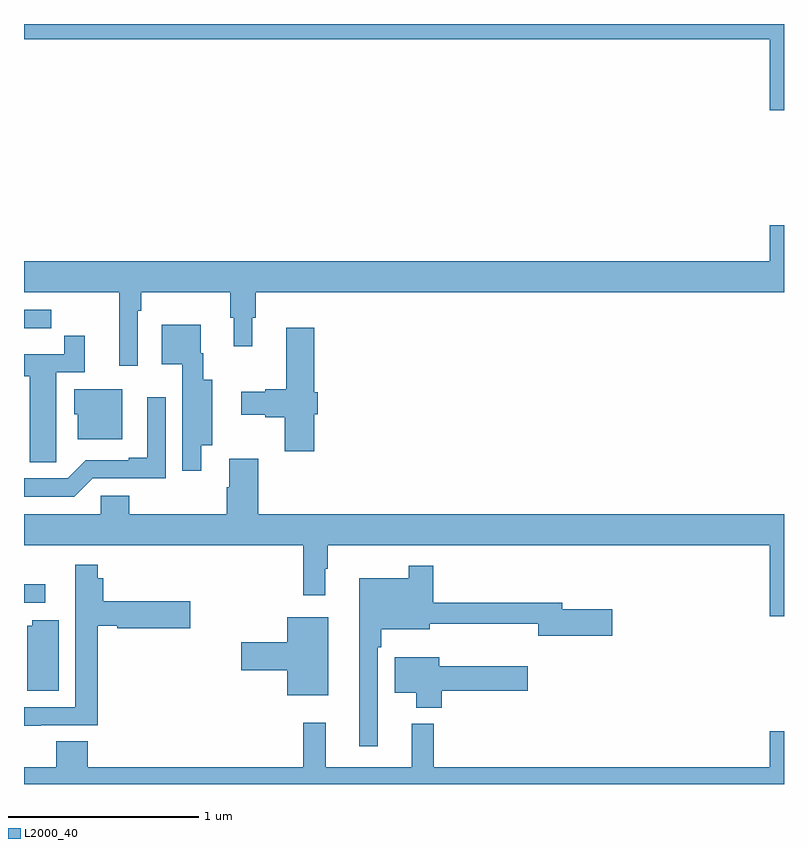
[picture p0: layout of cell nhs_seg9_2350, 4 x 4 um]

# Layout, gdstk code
import gdstk
lib = gdstk.Library(unit=1e-6, precision=1e-09)
def R(c, l, rs):  # rectangles x0, y0, x1, y1
    for r in rs: c.add(gdstk.rectangle(r[:2], r[2:], *l))
def P(c, l, *ps):  # polygons
    for p in ps: c.add(gdstk.Polygon(p, *l))
L2000_40 = (2000, 40)

nhs_seg9_2350 = lib.new_cell('nhs_seg9_2350')
R(nhs_seg9_2350, L2000_40, [(245,1193.454,245.113,1193.551)])
P(nhs_seg9_2350, L2000_40, [(249,1196.5),(245,1196.5),(245,1196.42),(248.924,1196.42),(248.924,1196.046),(249,1196.046)],
  [(245.598,1194.992),(245.618,1194.992),(245.618,1195.088),(246.085,1195.088),(246.085,1194.954),(246.104,1194.954),(246.104,1194.804),(246.202,1194.804),(246.202,1194.954),(246.221,1194.954),(246.221,1195.088),(249,1195.088),(249,1195.441),(248.924,1195.441),(248.924,1195.252),(245,1195.252),(245,1195.088),(245.501,1195.088),(245.501,1194.702),(245.598,1194.702)],
  [(245.03,1194.9),(245.143,1194.9),(245.143,1194.996),(245,1194.996),(245,1194.899),(245.03,1194.899)],
  [(245.932,1194.284),(245.992,1194.284),(245.992,1194.628),(245.944,1194.628),(245.944,1194.768),(245.931,1194.768),(245.931,1194.916),(245.726,1194.916),(245.726,1194.71),(245.833,1194.71),(245.833,1194.388),(245.834,1194.388),(245.834,1194.15),(245.932,1194.15)],
  [(246.527,1194.447),(246.545,1194.447),(246.545,1194.561),(246.527,1194.561),(246.527,1194.901),(246.38,1194.901),(246.38,1194.578),(246.27,1194.578),(246.27,1194.565),(246.144,1194.565),(246.144,1194.443),(246.27,1194.443),(246.27,1194.431),(246.373,1194.431),(246.373,1194.252),(246.527,1194.252)],
  [(245.169,1194.304),(245.17,1194.304),(245.17,1194.666),(245.321,1194.666),(245.321,1194.859),(245.212,1194.859),(245.212,1194.762),(245,1194.762),(245,1194.646),(245.03,1194.646),(245.03,1194.193),(245.169,1194.193)],
  [(245.518,1194.577),(245.264,1194.577),(245.264,1194.447),(245.282,1194.447),(245.282,1194.314),(245.518,1194.314)],
  [(245.361,1194.108),(245.745,1194.108),(245.745,1194.535),(245.648,1194.535),(245.648,1194.217),(245.552,1194.217),(245.552,1194.204),(245.325,1194.204),(245.229,1194.108),(245,1194.108),(245,1194.012),(245.265,1194.012)],
  [(249,1193.92),(246.233,1193.92),(246.233,1194.211),(246.08,1194.211),(246.08,1194.062),(246.068,1194.062),(246.068,1193.92),(245.555,1193.92),(245.555,1194.018),(245.403,1194.018),(245.403,1193.92),(245,1193.92),(245,1193.756),(246.469,1193.756),(246.469,1193.493),(246.586,1193.493),(246.586,1193.633),(246.598,1193.633),(246.598,1193.756),(248.924,1193.756),(248.924,1193.382),(249,1193.382)],
  [(245.087,1192.809),(245.387,1192.809),(245.387,1193.333),(245.49,1193.333),(245.49,1193.321),(245.875,1193.321),(245.875,1193.463),(245.417,1193.463),(245.417,1193.584),(245.387,1193.584),(245.387,1193.653),(245.271,1193.653),(245.271,1192.905),(245,1192.905),(245,1192.807),(245.087,1192.807)],
  [(246.861,1193.219),(246.881,1193.219),(246.881,1193.315),(247.135,1193.315),(247.135,1193.344),(247.706,1193.344),(247.706,1193.279),(248.095,1193.279),(248.095,1193.421),(247.834,1193.421),(247.834,1193.455),(247.154,1193.455),(247.154,1193.65),(247.026,1193.65),(247.026,1193.584),(246.764,1193.584),(246.764,1192.698),(246.861,1192.698)],
  [(246.601,1193.377),(246.386,1193.377),(246.386,1193.246),(246.144,1193.246),(246.144,1193.099),(246.386,1193.099),(246.386,1192.967),(246.601,1192.967)],
  [(245.182,1193.361),(245.043,1193.361),(245.043,1193.334),(245.018,1193.334),(245.018,1192.99),(245.182,1192.99)],
  [(247.199,1192.99),(247.651,1192.99),(247.651,1193.119),(247.186,1193.119),(247.186,1193.167),(246.95,1193.167),(246.95,1192.979),(247.064,1192.979),(247.064,1192.901),(247.199,1192.901)],
  [(249,1192.777),(248.924,1192.777),(248.924,1192.588),(247.157,1192.588),(247.157,1192.816),(247.04,1192.816),(247.04,1192.588),(246.587,1192.588),(246.587,1192.822),(246.469,1192.822),(246.469,1192.588),(245.336,1192.588),(245.336,1192.724),(245.171,1192.724),(245.171,1192.588),(245,1192.588),(245,1192.5),(249,1192.5)])

lib.write_gds('nhs_seg9_2350.gds')
